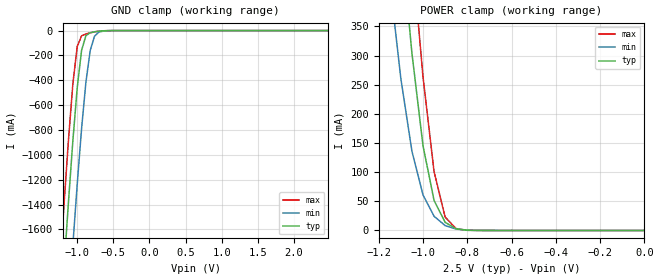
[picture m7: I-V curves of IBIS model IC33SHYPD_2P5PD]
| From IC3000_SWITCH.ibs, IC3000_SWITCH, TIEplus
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|   Model IC33SHYPD_2P5PD
[Model]   IC33SHYPD_2P5PD
Model_type   Input
Polarity   Non-Inverting
Vinh =   1.75V
Vinl =   0.75V
|   typ   min   max
C_comp   1.62pF   1.62pF   1.62pF
[Model Spec]
|   typ   min   max
Vinh   1.750V   1.575V   1.925V
Vinl   0.750V   0.675V   0.825V
[Temperature Range]   25.0000   0.1250k   -40.0000
[Voltage Range]   2.5000V   2.2500V   2.7500V
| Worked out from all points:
|   GND clamp passes 1 mA (typ) near -0.59 V on its own axis
|   POWER clamp passes 1 mA (typ) near -0.81 V on its own axis
| (Vdd votage range)   1.50V   1.35V   1.65V
[GND_clamp]
| voltage   I(typ)   I(min)   I(max)
-2.5V     -14.56A    -15.37A    -14.1A
-1.24V    -2.42A     -3.298A    -1.907A
-1.18V    -1.885A    -2.759A    -1.375A
-1.12V    -1.369A    -2.232A    -871mA
-1.06V    -884.3mA   -1.722A    -427mA
-1V       -460.1mA   -1.237A    -129.1mA
-940mV    -160.3mA   -792.1mA   -42.92mA
-880mV    -41.54mA   -417.2mA   -27.16mA
-820mV    -16.95mA   -160.2mA   -18.08mA
-760mV    -9.5mA     -44.93mA   -10.64mA
-700mV    -5.013mA   -12.54mA   -5.062mA
2.48V     143.1pA    2.391nA    127pA
[POWER_clamp]
| voltage   I(typ)   I(min)   I(max)
-2.5V     8.108A     7.368A     8.703A
-1.15V    732.8mA    427.8mA    979.7mA
-1.1V     506.2mA    260.6mA    722.8mA
-1.05V    304.3mA    136mA      480.1mA
-1V       145.5mA    61.04mA    263.8mA
-950mV    51.56mA    24.44mA    101mA
-900mV    14.01mA    8.383mA    22.94mA
-850mV    2.793mA    2.36mA     3.142mA
-800mV    442.5uA    587.5uA    300.2uA
-750mV    66.2uA     140.7uA    26.86uA
0V        145.1pA    2.172nA    143pA
